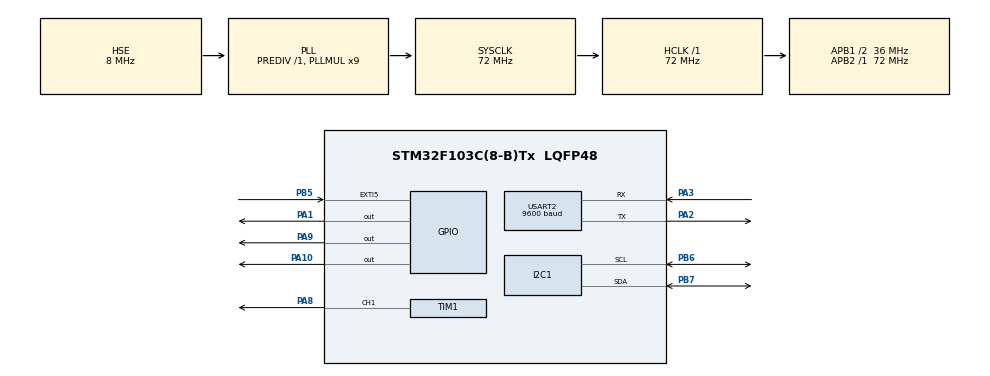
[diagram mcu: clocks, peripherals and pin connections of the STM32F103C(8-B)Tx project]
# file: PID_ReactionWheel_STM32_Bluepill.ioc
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Mcu.Family=STM32F1
Mcu.Name=STM32F103C(8-B)Tx
Mcu.Package=LQFP48
NVIC.PriorityGroup=NVIC_PRIORITYGROUP_4
NVIC.TIM1_UP_IRQn=true\:0\:0\:false\:false\:true\:true\:true\:true
NVIC.TIM2_IRQn=true\:0\:0\:false\:false\:true\:true\:true\:true
PA1.GPIO_Speed=GPIO_SPEED_FREQ_HIGH
PA1.Signal=GPIO_Output
PA10.Signal=GPIO_Output
PA13.Mode=Serial_Wire
PA13.Signal=SYS_JTMS-SWDIO
PA14.Mode=Serial_Wire
PA14.Signal=SYS_JTCK-SWCLK
PA2.Mode=Asynchronous
PA2.Signal=USART2_TX
PA3.Mode=Asynchronous
PA3.Signal=USART2_RX
PA8.Signal=S_TIM1_CH1
PA9.Signal=GPIO_Output
PB5.Signal=GPXTI5
PB6.Mode=I2C
PB6.Signal=I2C1_SCL
PB7.Mode=I2C
PB7.Signal=I2C1_SDA
PD0-OSC_IN.Mode=HSE-External-Oscillator
PD0-OSC_IN.Signal=RCC_OSC_IN
PD1-OSC_OUT.Mode=HSE-External-Oscillator
PD1-OSC_OUT.Signal=RCC_OSC_OUT
ProjectManager.HeapSize=0x200
ProjectManager.StackSize=0x400
ProjectManager.TargetToolchain=STM32CubeIDE
RCC.AHBFreq_Value=72000000
RCC.APB1CLKDivider=RCC_HCLK_DIV2
RCC.APB1Freq_Value=36000000
RCC.APB1TimFreq_Value=72000000
RCC.APB2Freq_Value=72000000
RCC.APB2TimFreq_Value=72000000
RCC.HCLKFreq_Value=72000000
RCC.PLLMUL=RCC_PLL_MUL9
RCC.PLLSourceVirtual=RCC_PLLSOURCE_HSE
RCC.SYSCLKFreq_VALUE=72000000
RCC.SYSCLKSource=RCC_SYSCLKSOURCE_PLLCLK
RCC.USBFreq_Value=72000000
SH.S_TIM1_CH1.0=TIM1_CH1,PWM Generation1 CH1
TIM1.Channel-PWM\ Generation1\ CH1=TIM_CHANNEL_1
TIM1.CounterMode=TIM_COUNTERMODE_UP
TIM1.Period=3001-1
TIM1.Prescaler=72-1
TIM1.Pulse-PWM\ Generation1\ CH1=0
TIM1.RepetitionCounter=0
TIM2.Period=40-1
TIM2.Prescaler=7200-1
USART2.BaudRate=9600
USART2.VirtualMode=VM_ASYNC
VP_TIM1_VS_ClockSourceINT.Mode=Internal
VP_TIM2_VS_ClockSourceINT.Mode=Internal
board=custom

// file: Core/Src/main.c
/* USER CODE BEGIN Header */
/**
  ******************************************************************************
  * @file           : main.c
  * @brief          : Main program body
  ******************************************************************************
  * @attention
  *
  * Copyright (c) 2023 STMicroelectronics.
  * All rights reserved.
  *
  * This software is licensed under terms that can be found in the LICENSE file
  * in the root directory of this software component.
  * If no LICENSE file comes with this software, it is provided AS-IS.
  *
  ******************************************************************************
  */
/* USER CODE END Header */
#include "main.h"

/* USER CODE BEGIN Includes */
#include "string.h"
#include "stdio.h"
#include "MPUXX50.h"
#include "PIDController.h"
/* USER CODE END Includes */

/* USER CODE BEGIN PD */
#define TIM1_PWM_FREQ_1000 3000
#define TRUE  1
#define FALSE 0
#define LED_PIN   GPIO_PIN_1
#define LED_PORT  GPIOA

/* USER CODE END PD */

I2C_HandleTypeDef hi2c1;

TIM_HandleTypeDef htim1;
TIM_HandleTypeDef htim2;

UART_HandleTypeDef huart2;

/* USER CODE BEGIN PV */
uint8_t serialBuf[100];
uint8_t buf[2];
int i=0, j=0;
double pidOut = 0;

/* Initialise PID controller */
PIDController pid = { PID_KP, PID_KI, PID_KD, 0.0, 0.0, 0.0
                    };

/* USER CODE END PV */

void SystemClock_Config(void);
static void MX_GPIO_Init(void);
static void MX_TIM1_Init(void);
static void MX_I2C1_Init(void);
static void MX_USART2_UART_Init(void);
static void MX_TIM2_Init(void);
/* USER CODE BEGIN PFP */
void motorControl(double pidOut);
/* USER CODE END PFP */

int main(void)
{

  /* MCU Configuration--------------------------------------------------------*/

  /* Reset of all peripherals, Initializes the Flash interface and the Systick. */
  HAL_Init();

  /* Configure the system clock */
  SystemClock_Config();

  /* Initialize all configured peripherals */
  MX_GPIO_Init();
  MX_TIM1_Init();
  MX_I2C1_Init();
  MX_USART2_UART_Init();
  MX_TIM2_Init();
  /* USER CODE BEGIN 2 */

// Check if IMU configured properly and block if it didn't
  if (MPU_begin(&hi2c1, AD0_LOW, AFSR_4G, GFSR_2000DPS, 0.98, 0.004) == TRUE)
  {
	    sprintf((char *)serialBuf, "SUCCESS!\r\n");
	    HAL_UART_Transmit(&huart2, serialBuf, strlen((char *)serialBuf), HAL_MAX_DELAY);
  }
  else
  {
    sprintf((char *)serialBuf, "ERROR!\r\n");
    HAL_UART_Transmit(&huart2, serialBuf, strlen((char *)serialBuf), HAL_MAX_DELAY);
    while (1)
    {
      HAL_GPIO_TogglePin(LED_PORT, LED_PIN);
      HAL_Delay(500);
    }
  }

  // Calibrate the IMU
  sprintf((char *)serialBuf, "CALIBRATING...\r\n");
  HAL_UART_Transmit(&huart2, serialBuf, strlen((char *)serialBuf), HAL_MAX_DELAY);
  MPU_calibrateGyro(&hi2c1, 1500);

  HAL_TIM_Base_Start_IT(&htim2);

  TIM1->ARR = TIM1_PWM_FREQ_1000;
  TIM1->CCR1 = TIM1_PWM_FREQ_1000 / 2;
  HAL_TIM_Base_Start(&htim1);
  HAL_TIM_PWM_Start(&htim1, TIM_CHANNEL_1);
  HAL_GPIO_WritePin(GPIOA, GPIO_PIN_9, GPIO_PIN_SET);

  /* USER CODE END 2 */

  /* Infinite loop */
  while (1)
  {

    /* USER CODE BEGIN 3 */
	    sprintf((char *)serialBuf, "%.1f,%.1f,%.1f,%.4f,%i\r\n", sensorData.gx, sensorData.gy, sensorData.gz, pidOut, j);
	    HAL_UART_Transmit(&huart2, serialBuf, strlen((char *)serialBuf), HAL_MAX_DELAY);
	    motorControl(pidOut);
  }
  /* USER CODE END 3 */
}

void SystemClock_Config(void)
{
  RCC_OscInitTypeDef RCC_OscInitStruct = {0};
  RCC_ClkInitTypeDef RCC_ClkInitStruct = {0};

  /** Initializes the RCC Oscillators according to the specified parameters
  * in the RCC_OscInitTypeDef structure.
  */
  RCC_OscInitStruct.OscillatorType = RCC_OSCILLATORTYPE_HSE;
  RCC_OscInitStruct.HSEState = RCC_HSE_ON;
  RCC_OscInitStruct.HSEPredivValue = RCC_HSE_PREDIV_DIV1;
  RCC_OscInitStruct.HSIState = RCC_HSI_ON;
  RCC_OscInitStruct.PLL.PLLState = RCC_PLL_ON;
  RCC_OscInitStruct.PLL.PLLSource = RCC_PLLSOURCE_HSE;
  RCC_OscInitStruct.PLL.PLLMUL = RCC_PLL_MUL9;
  if (HAL_RCC_OscConfig(&RCC_OscInitStruct) != HAL_OK)
  {
    Error_Handler();
  }

  /** Initializes the CPU, AHB and APB buses clocks
  */
  RCC_ClkInitStruct.ClockType = RCC_CLOCKTYPE_HCLK|RCC_CLOCKTYPE_SYSCLK
                              |RCC_CLOCKTYPE_PCLK1|RCC_CLOCKTYPE_PCLK2;
  RCC_ClkInitStruct.SYSCLKSource = RCC_SYSCLKSOURCE_PLLCLK;
  RCC_ClkInitStruct.AHBCLKDivider = RCC_SYSCLK_DIV1;
  RCC_ClkInitStruct.APB1CLKDivider = RCC_HCLK_DIV2;
  RCC_ClkInitStruct.APB2CLKDivider = RCC_HCLK_DIV1;

  if (HAL_RCC_ClockConfig(&RCC_ClkInitStruct, FLASH_LATENCY_2) != HAL_OK)
  {
    Error_Handler();
  }
}

static void MX_I2C1_Init(void)
{

  hi2c1.Instance = I2C1;
  hi2c1.Init.ClockSpeed = 100000;
  hi2c1.Init.DutyCycle = I2C_DUTYCYCLE_2;
  hi2c1.Init.OwnAddress1 = 0;
  hi2c1.Init.AddressingMode = I2C_ADDRESSINGMODE_7BIT;
  hi2c1.Init.DualAddressMode = I2C_DUALADDRESS_DISABLE;
  hi2c1.Init.OwnAddress2 = 0;
  hi2c1.Init.GeneralCallMode = I2C_GENERALCALL_DISABLE;
  hi2c1.Init.NoStretchMode = I2C_NOSTRETCH_DISABLE;
  if (HAL_I2C_Init(&hi2c1) != HAL_OK)
  {
    Error_Handler();
  }

}

static void MX_TIM1_Init(void)
{

  TIM_ClockConfigTypeDef sClockSourceConfig = {0};
  TIM_MasterConfigTypeDef sMasterConfig = {0};
  TIM_OC_InitTypeDef sConfigOC = {0};
  TIM_BreakDeadTimeConfigTypeDef sBreakDeadTimeConfig = {0};

  htim1.Instance = TIM1;
  htim1.Init.Prescaler = 72-1;
  htim1.Init.CounterMode = TIM_COUNTERMODE_UP;
  htim1.Init.Period = 3001-1;
  htim1.Init.ClockDivision = TIM_CLOCKDIVISION_DIV1;
  htim1.Init.RepetitionCounter = 0;
  htim1.Init.AutoReloadPreload = TIM_AUTORELOAD_PRELOAD_DISABLE;
  if (HAL_TIM_Base_Init(&htim1) != HAL_OK)
  {
    Error_Handler();
  }
  sClockSourceConfig.ClockSource = TIM_CLOCKSOURCE_INTERNAL;
  if (HAL_TIM_ConfigClockSource(&htim1, &sClockSourceConfig) != HAL_OK)
  {
    Error_Handler();
  }
  if (HAL_TIM_PWM_Init(&htim1) != HAL_OK)
  {
    Error_Handler();
  }
  sMasterConfig.MasterOutputTrigger = TIM_TRGO_RESET;
  sMasterConfig.MasterSlaveMode = TIM_MASTERSLAVEMODE_DISABLE;
  if (HAL_TIMEx_MasterConfigSynchronization(&htim1, &sMasterConfig) != HAL_OK)
  {
    Error_Handler();
  }
  sConfigOC.OCMode = TIM_OCMODE_PWM1;
  sConfigOC.Pulse = 0;
  sConfigOC.OCPolarity = TIM_OCPOLARITY_HIGH;
  sConfigOC.OCNPolarity = TIM_OCNPOLARITY_HIGH;
  sConfigOC.OCFastMode = TIM_OCFAST_DISABLE;
  sConfigOC.OCIdleState = TIM_OCIDLESTATE_RESET;
  sConfigOC.OCNIdleState = TIM_OCNIDLESTATE_RESET;
  if (HAL_TIM_PWM_ConfigChannel(&htim1, &sConfigOC, TIM_CHANNEL_1) != HAL_OK)
  {
    Error_Handler();
  }
  sBreakDeadTimeConfig.OffStateRunMode = TIM_OSSR_DISABLE;
  sBreakDeadTimeConfig.OffStateIDLEMode = TIM_OSSI_DISABLE;
  sBreakDeadTimeConfig.LockLevel = TIM_LOCKLEVEL_OFF;
  sBreakDeadTimeConfig.DeadTime = 0;
  sBreakDeadTimeConfig.BreakState = TIM_BREAK_DISABLE;
  sBreakDeadTimeConfig.BreakPolarity = TIM_BREAKPOLARITY_HIGH;
  sBreakDeadTimeConfig.AutomaticOutput = TIM_AUTOMATICOUTPUT_DISABLE;
  if (HAL_TIMEx_ConfigBreakDeadTime(&htim1, &sBreakDeadTimeConfig) != HAL_OK)
  {
    Error_Handler();
  }
  HAL_TIM_MspPostInit(&htim1);

}

static void MX_TIM2_Init(void)
{

  TIM_ClockConfigTypeDef sClockSourceConfig = {0};
  TIM_MasterConfigTypeDef sMasterConfig = {0};

  htim2.Instance = TIM2;
  htim2.Init.Prescaler = 7200-1;
  htim2.Init.CounterMode = TIM_COUNTERMODE_UP;
  htim2.Init.Period = 40-1;
  htim2.Init.ClockDivision = TIM_CLOCKDIVISION_DIV1;
  htim2.Init.AutoReloadPreload = TIM_AUTORELOAD_PRELOAD_DISABLE;
  if (HAL_TIM_Base_Init(&htim2) != HAL_OK)
  {
    Error_Handler();
  }
  sClockSourceConfig.ClockSource = TIM_CLOCKSOURCE_INTERNAL;
  if (HAL_TIM_ConfigClockSource(&htim2, &sClockSourceConfig) != HAL_OK)
  {
    Error_Handler();
  }
  sMasterConfig.MasterOutputTrigger = TIM_TRGO_RESET;
  sMasterConfig.MasterSlaveMode = TIM_MASTERSLAVEMODE_DISABLE;
  if (HAL_TIMEx_MasterConfigSynchronization(&htim2, &sMasterConfig) != HAL_OK)
  {
    Error_Handler();
  }

}

static void MX_USART2_UART_Init(void)
{

  huart2.Instance = USART2;
  huart2.Init.BaudRate = 9600;
  huart2.Init.WordLength = UART_WORDLENGTH_8B;
  huart2.Init.StopBits = UART_STOPBITS_1;
  huart2.Init.Parity = UART_PARITY_NONE;
  huart2.Init.Mode = UART_MODE_TX_RX;
  huart2.Init.HwFlowCtl = UART_HWCONTROL_NONE;
  huart2.Init.OverSampling = UART_OVERSAMPLING_16;
  if (HAL_UART_Init(&huart2) != HAL_OK)
  {
    Error_Handler();
  }

}

static void MX_GPIO_Init(void)
{
  GPIO_InitTypeDef GPIO_InitStruct = {0};

  /* GPIO Ports Clock Enable */
  __HAL_RCC_GPIOD_CLK_ENABLE();
  __HAL_RCC_GPIOA_CLK_ENABLE();
  __HAL_RCC_GPIOB_CLK_ENABLE();

  /*Configure GPIO pin Output Level */
  HAL_GPIO_WritePin(GPIOA, GPIO_PIN_1|GPIO_PIN_9|GPIO_PIN_10, GPIO_PIN_RESET);

  /*Configure GPIO pin : PA1 */
  GPIO_InitStruct.Pin = GPIO_PIN_1;
  GPIO_InitStruct.Mode = GPIO_MODE_OUTPUT_PP;
  GPIO_InitStruct.Pull = GPIO_NOPULL;
  GPIO_InitStruct.Speed = GPIO_SPEED_FREQ_HIGH;
  HAL_GPIO_Init(GPIOA, &GPIO_InitStruct);

  /*Configure GPIO pins : PA9 PA10 */
  GPIO_InitStruct.Pin = GPIO_PIN_9|GPIO_PIN_10;
  GPIO_InitStruct.Mode = GPIO_MODE_OUTPUT_PP;
  GPIO_InitStruct.Pull = GPIO_NOPULL;
  GPIO_InitStruct.Speed = GPIO_SPEED_FREQ_LOW;
  HAL_GPIO_Init(GPIOA, &GPIO_InitStruct);

  /*Configure GPIO pin : PB5 */
  GPIO_InitStruct.Pin = GPIO_PIN_5;
  GPIO_InitStruct.Mode = GPIO_MODE_IT_RISING;
  GPIO_InitStruct.Pull = GPIO_NOPULL;
  HAL_GPIO_Init(GPIOB, &GPIO_InitStruct);

}

/* USER CODE BEGIN 4 */
void HAL_TIM_PeriodElapsedCallback(TIM_HandleTypeDef *htim)
{
	// Check if timer has triggered and update attitude
  if (htim == &htim2)
  {
      HAL_ResumeTick();
      MPU_readProcessedData(&hi2c1);

	  pidOut=compute(&pid, 0,sensorData.gz,0.004);
      HAL_SuspendTick();
  }
}

void motorControl(double pidOut)
{
	double motorSpeed;

	j++;
	if (pidOut > 0.05){
		motorSpeed = pidOut * 100;
		if(motorSpeed > MAX_SPEED) motorSpeed = MAX_SPEED;
		else if (motorSpeed < MIN_SPEED) motorSpeed = MIN_SPEED;

		TIM1->ARR = (uint16_t)((1e06 / motorSpeed) * 3) ;
		TIM1->CCR1 =(uint16_t) (TIM1->ARR/2);

		HAL_GPIO_WritePin(GPIOA, GPIO_PIN_9, GPIO_PIN_RESET);
		HAL_GPIO_WritePin(GPIOA, GPIO_PIN_10, GPIO_PIN_RESET);
	}

	else if (pidOut < -0.05){
		motorSpeed = pidOut * 100 * (-1);
		if(motorSpeed > MAX_SPEED) motorSpeed = MAX_SPEED;
		else if (motorSpeed < MIN_SPEED) motorSpeed = MIN_SPEED;

		TIM1->ARR = (uint16_t)((1e06 / motorSpeed) * 3) ;
		TIM1->CCR1 =(uint16_t) (TIM1->ARR/2);

		HAL_GPIO_WritePin(GPIOA, GPIO_PIN_9, GPIO_PIN_RESET);
		HAL_GPIO_WritePin(GPIOA, GPIO_PIN_10, GPIO_PIN_SET);
	}

	else{
			i++;
			if (i>=0){
				HAL_GPIO_WritePin(GPIOA, GPIO_PIN_9, GPIO_PIN_SET);
				reset(&pid);
				HAL_Delay(200);
				i=0;
			}
			else{
				asm("NOP");
			}

		}

}

/* USER CODE END 4 */

void Error_Handler(void)
{
  __disable_irq();
  while (1)
  {
  }
}
